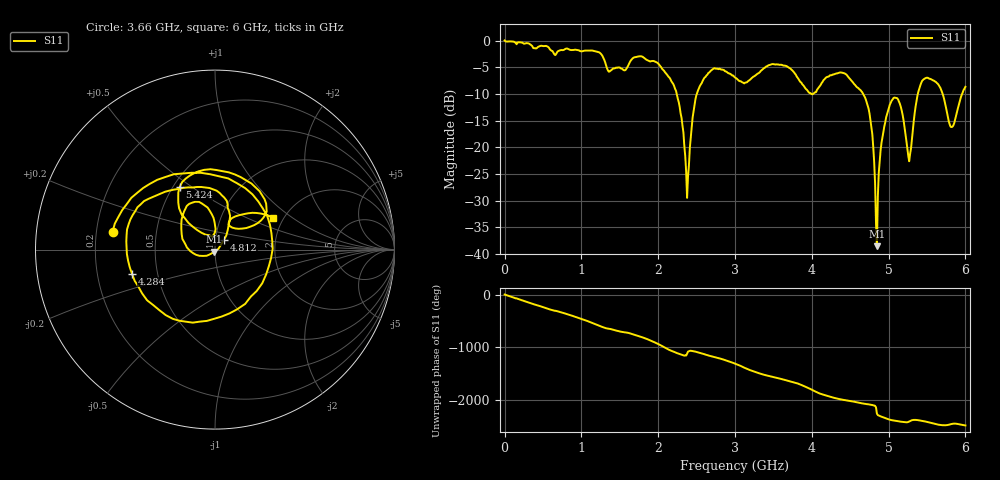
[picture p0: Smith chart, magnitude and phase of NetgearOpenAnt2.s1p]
# Hz S RI R 50
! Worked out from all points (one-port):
!   501 points, 1 MHz to 6 GHz, reference 50 ohm
!   lowest |S11| = -38.5 dB at 4.848 GHz (marker M1), VSWR 1.02, Z = 49.6 - j1.12 ohm
!   |S11| at or under -10 dB: 2.242 GHz to 2.503 GHz (261.3 MHz wide, 11 % of centre); 4.668 GHz to 5.381 GHz (712.6 MHz wide, 14.2 % of centre); 5.704 GHz to 5.957 GHz (253.4 MHz wide, 4.35 % of centre)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
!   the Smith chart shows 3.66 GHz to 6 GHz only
!   S11 on the Smith chart (normalised r, x): 3.66 GHz: 0.27, +0.08; 4.284 GHz: 0.36, -0.12; 4.812 GHz: 1.10, +0.12; 5.424 GHz: 0.54, +0.45; 6 GHz: 1.78, +0.72
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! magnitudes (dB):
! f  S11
! 1 MHz  0.0
! 756.9 MHz  -1.8
! 1.501 GHz  -5.1
! 1.969 GHz  -4.0
! 2.257 GHz  -10.9
! 2.377 GHz  -29.5
! 2.473 GHz  -12.1
! 2.557 GHz  -8.2
! 2.737 GHz  -5.2
! 3.001 GHz  -6.9
! 3.66 GHz  -4.7
! 3.756 GHz  -5.7
! 3.996 GHz  -10.0
! 4.284 GHz  -6.3
! 4.5 GHz  -7.2
! 4.728 GHz  -12.3
! 4.776 GHz  -16.2
! 4.812 GHz  -22.7
! 4.824 GHz  -26.7
! 4.848 GHz  -38.5
! 4.92 GHz  -18.2
! 5.04 GHz  -11.3
! 5.148 GHz  -11.9
! 5.256 GHz  -21.6
! 5.424 GHz  -8.0
! 5.652 GHz  -8.3
! 5.82 GHz  -16.2
! 6 GHz  -8.7
